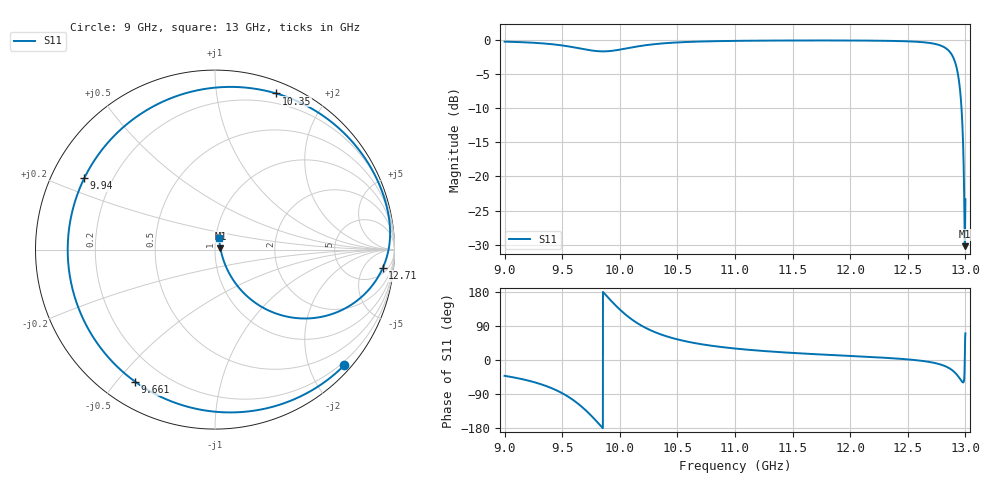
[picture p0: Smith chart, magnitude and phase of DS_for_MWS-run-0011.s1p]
! TOUCHSTONE file generated by CST DESIGN STUDIO
! Date and time: Tue Feb  4 18:01:05 2025
! Project name: C:\Work\MatlabApps\UnitCellOptimizationMatlab\CST\unitcell.cst
! Tree item: Tasks\Sweep1\SPara1\S-Parameters
! Header version: 2024
! Port assignment regex: !\s*Touchstone port\s*([0-9]+)\s*=\s*(CST MWS port|CST DES external port|CST DES block port)\s*(.+)\s* \(\"(.*)\"\)(\s*mode\s*([0-9]+))?.*
! Touchstone port assignment:
! Touchstone port 1 = CST DES external port 1 ("")
# GHz S MA R 50
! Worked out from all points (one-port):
!   4001 points, 9 GHz to 13 GHz, reference 50 ohm
!   lowest |S11| = -30.2 dB at 12.99 GHz (marker M1), VSWR 1.06, Z = 53.1 + j0.748 ohm
!   |S11| at or under -10 dB: 12.9662 GHz to end of sweep
!   S11 on the Smith chart (normalised r, x): 9 GHz: 0.13, -2.62; 9.661 GHz: 0.10, -0.56; 9.94 GHz: 0.10, +0.25; 10.35 GHz: 0.11, +1.46; 12.71 GHz: 8, -14; 13 GHz: 1.04, +0.13
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9  0.9666 -41.8
9.279  0.9456 -60.5
9.5  0.9067 -87.6
9.586  0.8832 -103.7
9.661  0.8599 -121.1
9.733  0.8386 -141.1
9.812  0.8231 -166.2
9.875  0.8213 172.6
9.94  0.83 151.3
10  0.8452 133.3
10.07  0.8667 114.9
10.146  0.8898 98.4
10.347  0.9346 68.5
10.5  0.9541 54.4
10.716  0.9695 41.3
11  0.9794 30.3
11.5  0.9856 18.7
12  0.9853 10.7
12.5  0.9718 1.6
12.708  0.9403 -6.3
12.843  0.8494 -18.9
12.887  0.7631 -27.2
12.924  0.623 -38.0
12.96  0.374 -52.7
12.969  0.2888 -56.5
12.98  0.1739 -59.3
12.995  0.03095 13.1
13  0.06822 70.2
